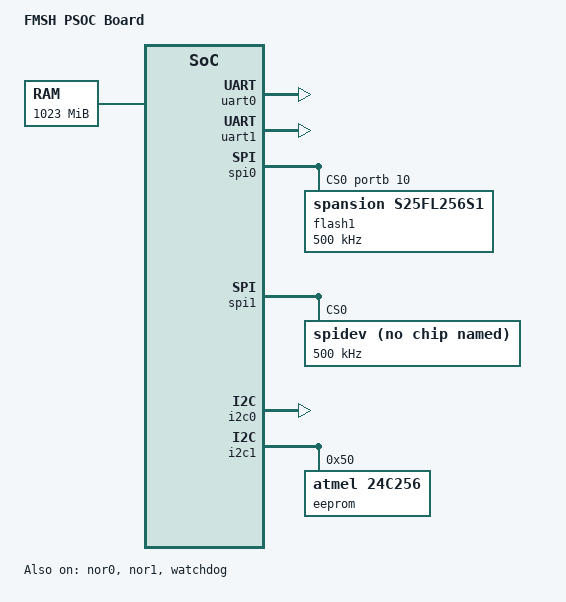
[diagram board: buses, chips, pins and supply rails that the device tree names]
/*
 * FMSH PSOC board DTS
 * Child board B NOR_SPI_I2C
 *
 * Copyright (C) 2018 FMSH, Inc.
 *
 * SPDX-License-Identifier:	GPL-2.0+
 */

#include "fmsh-psoc.dtsi"

/ {
	model = "FMSH PSOC Board";
	compatible = "fmsh,fmsh-psoc";

	memory {
		device_type = "memory";
		reg = <0x00100000 0x3ff00000>;
	};

	chosen {
		bootargs = "console=ttyPS0,115200 earlyprintk loglevel=8 root=/dev/ram rw";
		/* bootloader will place initrd at this address */
		linux,initrd-start = <0x12000000>;
		linux,initrd-end = <0x12800000>;
	};

        aliases {
              serial0 = &uart0;
              serial1 = &uart1;
        };
};

&nor0 {
	status = "okay";
	/*
	fs@0 {
		label = "fs";
		reg = <0 0x800000>;
	};
	firmware@f80000 {
		label ="firmware";
		reg = <0x800000 0x1000000>;
//		read-only;
	};
	*/
};

&nor1 {
	status = "okay";
};

&uart0 {
	status = "okay";
};

&uart1 {
	status = "okay";
};

&spi0 {
	cs-gpios = <&portb 10 0>;
	status = "okay";

	flash1@0 {
		compatible = "spansion,s25fl256s1", "jedec,spi-nor";
		reg = <0>;
		spi-max-frequency = <500000>;
	};
};

&spi1 {
	status = "okay";

	spidev: dh2228@0 {
	      compatible = "rohm,dh2228fv";
	      reg = <0>;
	      spi-max-frequency = <500000>;
	};
};

&i2c0 {
	status = "okay";
};

&i2c1 {
	status = "okay";

	eeprom@50 {
		compatible = "atmel,24c256";
		reg = <0x50>;
	};
};

&watchdog {
	status = "okay";
};

&gpio0 {
	status = "okay";
};

&gpio1 {
	status = "okay";
};

&gpio2 {
	status = "okay";
};

&gpio3 {
	status = "okay";
};

